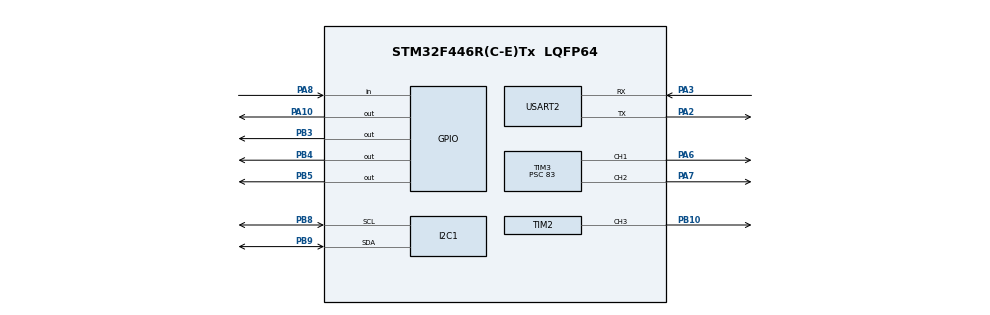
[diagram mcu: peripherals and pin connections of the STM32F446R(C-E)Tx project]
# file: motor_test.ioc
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Mcu.Family=STM32F4
Mcu.Name=STM32F446R(C-E)Tx
Mcu.Package=LQFP64
NVIC.PriorityGroup=NVIC_PRIORITYGROUP_4
PA10.Signal=GPIO_Output
PA13.Mode=Serial_Wire
PA13.Signal=SYS_JTMS-SWDIO
PA14.Mode=Serial_Wire
PA14.Signal=SYS_JTCK-SWCLK
PA2.Mode=Asynchronous
PA2.Signal=USART2_TX
PA3.Mode=Asynchronous
PA3.Signal=USART2_RX
PA6.Signal=S_TIM3_CH1
PA7.Signal=S_TIM3_CH2
PA8.GPIO_PuPd=GPIO_PULLUP
PA8.Signal=GPIO_Input
PB10.Signal=S_TIM2_CH3
PB3.Signal=GPIO_Output
PB4.Signal=GPIO_Output
PB5.Signal=GPIO_Output
PB8.GPIO_Pu=GPIO_PULLUP
PB8.Mode=I2C
PB8.Signal=I2C1_SCL
PB9.GPIO_Pu=GPIO_PULLUP
PB9.Mode=I2C
PB9.Signal=I2C1_SDA
ProjectManager.HeapSize=0x200
ProjectManager.StackSize=0x400
ProjectManager.TargetToolchain=STM32CubeIDE
RCC.CortexFreq_Value=16000000
RCC.USBFreq_Value=96000000
RCC.VCOOutputFreq_Value=192000000
SH.S_TIM2_CH3.0=TIM2_CH3,PWM Generation3 CH3
SH.S_TIM3_CH1.0=TIM3_CH1,PWM Generation1 CH1
SH.S_TIM3_CH2.0=TIM3_CH2,PWM Generation2 CH2
TIM2.Channel-PWM\ Generation3\ CH3=TIM_CHANNEL_3
TIM2.Period=999
TIM2.Prescaler=83
TIM3.Channel-PWM\ Generation1\ CH1=TIM_CHANNEL_1
TIM3.Channel-PWM\ Generation2\ CH2=TIM_CHANNEL_2
TIM3.Period=999
TIM3.Prescaler=83
USART2.VirtualMode=VM_ASYNC
VP_TIM3_VS_ClockSourceINT.Mode=Internal
board=custom

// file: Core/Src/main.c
/* USER CODE BEGIN Header */
/**
  * ******************************************************************************
  * @file           : main.c
  * @brief          : Standalone Dual-Timer Core (TIM3-Left / TIM2-Right Override)
  * ******************************************************************************
  */
/* USER CODE END Header */
#include "main.h"

/* USER CODE BEGIN Includes */
#include <stdio.h>
#include <string.h>
#include <stdarg.h>
/* USER CODE END Includes */

/* USER CODE BEGIN PD */
#define SENSOR_ADDR (0x29 << 1)
#define CMD_BIT     0x80
/* USER CODE END PD */

I2C_HandleTypeDef hi2c1;

TIM_HandleTypeDef htim2;
TIM_HandleTypeDef htim3;

UART_HandleTypeDef huart2;

/* USER CODE BEGIN PV */
volatile uint16_t Red_Color = 0;
volatile uint16_t Green_Color = 0;
volatile uint16_t Blue_Color = 0;
volatile uint16_t Clear_Color = 0;

volatile HAL_StatusTypeDef scan_result = HAL_ERROR;
volatile uint8_t found_address = 0;
/* USER CODE END PV */

void SystemClock_Config(void);
static void MX_GPIO_Init(void);
static void MX_TIM2_Init(void);
static void MX_TIM3_Init(void);
static void MX_I2C1_Init(void);
static void MX_USART2_UART_Init(void);
/* USER CODE BEGIN PFP */
void Read_Color_Values(void);
void Color_Sensor_Init(void);
void Set_Motor_Speed(uint32_t left_speed, uint32_t right_speed);
void Debug_Print(const char* format, ...);
void Robot_Forward(void);
void Robot_Stop(void);
void Robot_Turn_Left(void);
void Robot_Turn_Right(void);
void Robot_UTurn(void);
/* USER CODE END PFP */

int main(void)
{
  HAL_Init();

  /* =========================================================================
     🧹 EMERGENCY HARDWARE PIN BIT-FLUSH (UNBRICK ROUTINE)
     ========================================================================= */
  __HAL_RCC_GPIOB_CLK_ENABLE();
  GPIO_InitTypeDef GPIO_ResetStruct = {0};
  GPIO_ResetStruct.Pin = GPIO_PIN_8 | GPIO_PIN_9;
  GPIO_ResetStruct.Mode = GPIO_MODE_OUTPUT_PP;
  GPIO_ResetStruct.Pull = GPIO_NOPULL;
  GPIO_ResetStruct.Speed = GPIO_SPEED_FREQ_LOW;
  HAL_GPIO_Init(GPIOB, &GPIO_ResetStruct);

  HAL_GPIO_WritePin(GPIOB, GPIO_PIN_8 | GPIO_PIN_9, GPIO_PIN_SET);
  HAL_Delay(10);
  for(int i = 0; i < 9; i++) {
      HAL_GPIO_WritePin(GPIOB, GPIO_PIN_8, GPIO_PIN_RESET);
      HAL_Delay(5);
      HAL_GPIO_WritePin(GPIOB, GPIO_PIN_8, GPIO_PIN_SET);
      HAL_Delay(5);
  }
  HAL_GPIO_WritePin(GPIOB, GPIO_PIN_8 | GPIO_PIN_9, GPIO_PIN_SET);
  HAL_Delay(10);
  /* ========================================================================= */

  SystemClock_Config();

  MX_GPIO_Init();
  MX_TIM2_Init();
  MX_TIM3_Init();
  MX_I2C1_Init();
  MX_USART2_UART_Init();

  /* USER CODE BEGIN 2 */
  /* 🏎️ Fire up the Dual-Timer Engine channels */
  HAL_TIM_PWM_Start(&htim3, TIM_CHANNEL_2); // Left Speed via D9
  HAL_TIM_PWM_Start(&htim2, TIM_CHANNEL_3); // Right Speed via D11 Override

  HAL_Delay(200);

  Debug_Print("\r\n🚀 DUAL-TIMER FIRMWARE LOADED: Right channel active on D11\r\n");

  scan_result = HAL_I2C_IsDeviceReady(&hi2c1, SENSOR_ADDR, 3, 100);
  if (scan_result == HAL_OK) {
      found_address = 0x29;
      Debug_Print("✅ Color Sensor Detected at address: 0x29\r\n");
  } else {
      Debug_Print("⚠️ WARNING: Color Sensor missed on I2C1 bus!\r\n");
  }

  Color_Sensor_Init();
  Robot_Forward();
  /* USER CODE END 2 */

  /* Infinite loop */
    /* USER CODE BEGIN WHILE */
    while (1)
    {
      uint8_t ir_read = HAL_GPIO_ReadPin(GPIOA, GPIO_PIN_8);

      if (ir_read == 0)
      {
          // 🛡️ HARDWARE DEBOUNCE
          HAL_Delay(40);
          if (HAL_GPIO_ReadPin(GPIOA, GPIO_PIN_8) != 0) {
              continue;
          }

          /* 🛑 STEP 1 & 2: IMMEDIATE STOP & 2-SECOND SETTLING WINDOW */
          Robot_Stop();
          Debug_Print("ℹ️ Obstacle flagged. Vehicle locked. Settling for 2 seconds...\r\n");
          HAL_Delay(2000); // 2-second hold to eliminate mechanical shake and stabilize I2C lines

          // 🗳️ Vote Trackers
          int red_votes = 0;
          int green_votes = 0;
          int blue_votes = 0;
          int white_votes = 0;

          Debug_Print("🔄 Commencing 5-sample data acquisition...\r\n");

          /* 🔄 STEP 4: CAPTURE SAMPLES UNDER LOW-LUX CONDITIONS */
          for (int sample = 1; sample <= 5; sample++)
          {
              Read_Color_Values();

              uint32_t r_scaled = 0;
              uint32_t g_scaled = 0;
              uint32_t b_scaled = 0;

              if (Clear_Color > 0)
              {
                  r_scaled = ((uint32_t)Red_Color * 255) / Clear_Color;
                  g_scaled = ((uint32_t)Green_Color * 255) / Clear_Color;
                  b_scaled = ((uint32_t)Blue_Color * 255) / Clear_Color;

                  // Clamp values to max 8-bit scale
                  if (r_scaled > 255) r_scaled = 255;
                  if (g_scaled > 255) g_scaled = 255;
                  if (b_scaled > 255) b_scaled = 255;
              }

              Debug_Print("  [Sample %d] -> Raw Clear: %d | R:%d G:%d B:%d\r\n", sample, Clear_Color, (int)r_scaled, (int)g_scaled, (int)b_scaled);

              /* 🎨 LOW-LUX COMPENSATED INTERPRETER ENGINE */
              if (Clear_Color > 200 && r_scaled > 210 && g_scaled > 180)
              {
                  /* White target confirmation based on high raw balance metrics */
                  white_votes++;
              }
              else if (Clear_Color > 15) // Lowered safety floor to securely process low-lux readings
              {
                  /* Green target isolation: G is strictly dominant over R and B */
                  if (g_scaled > r_scaled && g_scaled > b_scaled)
                  {
                      green_votes++;
                  }
                  /* Red target isolation: R is strictly dominant over G and B */
                  else if (r_scaled > g_scaled && r_scaled > b_scaled)
                  {
                      red_votes++;
                  }
                  /* Blue target isolation */
                  else if (b_scaled > g_scaled && b_scaled > 140)
                  {
                      blue_votes++;
                  }
                  else
                  {
                      // Clean mathematical fallback rule if signals flatten out evenly
                      if (b_scaled > r_scaled && b_scaled > g_scaled) blue_votes++;
                  }
              }

              HAL_Delay(110);
          }

          /* ⏱️ STEP 5: 3-SECOND POST-PROCESSING DATA WINDOW */
          Debug_Print("🗳️ REPORT CARD -> RED:%d | GREEN:%d | BLUE:%d | WHITE:%d\r\n", red_votes, green_votes, blue_votes, white_votes);
          Debug_Print("ℹ️ Holding for 3 seconds to process decision...\r\n");
          HAL_Delay(3000); // 3-second diagnostic delay to safely verify results on the terminal

          /* 🚀 STEP 6: EXECUTE ROUTE ACTION */
          uint8_t executed_turn = 0;

          if (white_votes >= 3)
          {
              Debug_Print("↳ Route Action: WHITE -> U-Turn\r\n");
              Robot_UTurn();
              executed_turn = 1;
          }
          else if (red_votes >= 3)
          {
              Debug_Print("↳ Route Action: RED -> 5-Second Stop\r\n");
              Robot_Stop();
              HAL_Delay(5000);
              executed_turn = 1;
          }
          else if (green_votes >= 3)
          {
              Debug_Print("↳ Route Action: GREEN -> Turn Right\r\n");
              Robot_Turn_Right();
              executed_turn = 1;
          }
          else if (blue_votes >= 3)
          {
              Debug_Print("↳ Route Action: BLUE -> Turn Left\r\n");
              Robot_Turn_Left();
              executed_turn = 1;
          }
          else
          {
              Debug_Print("↳ Route Action: SPLIT VOTE -> Holding Brake\r\n");
              Robot_Stop();
              HAL_Delay(500);
          }

          // Kick back into low-speed cruise mode
          Robot_Forward();

          if (executed_turn == 1) {
              HAL_Delay(1000);
          }
      }
      else
      {
          Robot_Forward();
      }

      HAL_Delay(20);
    }
    /* USER CODE END WHILE */

}

void SystemClock_Config(void)
{
  RCC_OscInitTypeDef RCC_OscInitStruct = {0};
  RCC_ClkInitTypeDef RCC_ClkInitStruct = {0};

  __HAL_RCC_PWR_CLK_ENABLE();
  __HAL_PWR_VOLTAGESCALING_CONFIG(PWR_REGULATOR_VOLTAGE_SCALE3);

  RCC_OscInitStruct.OscillatorType = RCC_OSCILLATORTYPE_HSI;
  RCC_OscInitStruct.HSIState = RCC_HSI_ON;
  RCC_OscInitStruct.HSICalibrationValue = RCC_HSICALIBRATION_DEFAULT;
  RCC_OscInitStruct.PLL.PLLState = RCC_PLL_NONE;
  HAL_RCC_OscConfig(&RCC_OscInitStruct);

  RCC_ClkInitStruct.ClockType = RCC_CLOCKTYPE_HCLK|RCC_CLOCKTYPE_SYSCLK|RCC_CLOCKTYPE_PCLK1|RCC_CLOCKTYPE_PCLK2;
  RCC_ClkInitStruct.SYSCLKSource = RCC_SYSCLKSOURCE_HSI;
  RCC_ClkInitStruct.AHBCLKDivider = RCC_SYSCLK_DIV1;
  RCC_ClkInitStruct.APB1CLKDivider = RCC_HCLK_DIV1;
  RCC_ClkInitStruct.APB2CLKDivider = RCC_HCLK_DIV1;
  HAL_RCC_ClockConfig(&RCC_ClkInitStruct, FLASH_LATENCY_0);
}

static void MX_I2C1_Init(void)
{
  hi2c1.Instance = I2C1;
  hi2c1.Init.ClockSpeed = 100000;
  hi2c1.Init.DutyCycle = I2C_DUTYCYCLE_2;
  hi2c1.Init.OwnAddress1 = 0;
  hi2c1.Init.AddressingMode = I2C_ADDRESSINGMODE_7BIT;
  hi2c1.Init.DualAddressMode = I2C_DUALADDRESS_DISABLE;
  hi2c1.Init.OwnAddress2 = 0;
  hi2c1.Init.GeneralCallMode = I2C_GENERALCALL_DISABLE;
  hi2c1.Init.NoStretchMode = I2C_NOSTRETCH_DISABLE;
  HAL_I2C_Init(&hi2c1);
}

static void MX_TIM2_Init(void)
{
  TIM_MasterConfigTypeDef sMasterConfig = {0};
  TIM_OC_InitTypeDef sConfigOC = {0};

  htim2.Instance = TIM2;
  htim2.Init.Prescaler = 83;
  htim2.Init.CounterMode = TIM_COUNTERMODE_UP;
  htim2.Init.Period = 999;
  htim2.Init.ClockDivision = TIM_CLOCKDIVISION_DIV1;
  htim2.Init.AutoReloadPreload = TIM_AUTORELOAD_PRELOAD_DISABLE;
  HAL_TIM_PWM_Init(&htim2);

  sMasterConfig.MasterOutputTrigger = TIM_TRGO_RESET;
  sMasterConfig.MasterSlaveMode = TIM_MASTERSLAVEMODE_DISABLE;
  HAL_TIMEx_MasterConfigSynchronization(&htim2, &sMasterConfig);

  sConfigOC.OCMode = TIM_OCMODE_PWM1;
  sConfigOC.Pulse = 0;
  sConfigOC.OCPolarity = TIM_OCPOLARITY_HIGH;
  sConfigOC.OCFastMode = TIM_OCFAST_DISABLE;
  HAL_TIM_PWM_ConfigChannel(&htim2, &sConfigOC, TIM_CHANNEL_3);

  HAL_TIM_MspPostInit(&htim2);
}

static void MX_TIM3_Init(void)
{
  TIM_ClockConfigTypeDef sClockSourceConfig = {0};
  TIM_MasterConfigTypeDef sMasterConfig = {0};
  TIM_OC_InitTypeDef sConfigOC = {0};

  htim3.Instance = TIM3;
  htim3.Init.Prescaler = 83;
  htim3.Init.CounterMode = TIM_COUNTERMODE_UP;
  htim3.Init.Period = 999;
  htim3.Init.ClockDivision = TIM_CLOCKDIVISION_DIV1;
  htim3.Init.AutoReloadPreload = TIM_AUTORELOAD_PRELOAD_DISABLE;
  HAL_TIM_Base_Init(&htim3);

  sClockSourceConfig.ClockSource = TIM_CLOCKSOURCE_INTERNAL;
  HAL_TIM_ConfigClockSource(&htim3, &sClockSourceConfig);
  HAL_TIM_PWM_Init(&htim3);

  sMasterConfig.MasterOutputTrigger = TIM_TRGO_RESET;
  sMasterConfig.MasterSlaveMode = TIM_MASTERSLAVEMODE_DISABLE;
  HAL_TIMEx_MasterConfigSynchronization(&htim3, &sMasterConfig);

  sConfigOC.OCMode = TIM_OCMODE_PWM1;
  sConfigOC.Pulse = 0;
  sConfigOC.OCPolarity = TIM_OCPOLARITY_HIGH;
  sConfigOC.OCFastMode = TIM_OCFAST_DISABLE;
  HAL_TIM_PWM_ConfigChannel(&htim3, &sConfigOC, TIM_CHANNEL_2);

  HAL_TIM_MspPostInit(&htim3);
}

static void MX_USART2_UART_Init(void)
{
  huart2.Instance = USART2;
  huart2.Init.BaudRate = 115200;
  huart2.Init.WordLength = UART_WORDLENGTH_8B;
  huart2.Init.StopBits = UART_STOPBITS_1;
  huart2.Init.Parity = UART_PARITY_NONE;
  huart2.Init.Mode = UART_MODE_TX_RX;
  huart2.Init.HwFlowCtl = UART_HWCONTROL_NONE;
  huart2.Init.OverSampling = UART_OVERSAMPLING_16;
  HAL_UART_Init(&huart2);
}

static void MX_GPIO_Init(void)
{
  GPIO_InitTypeDef GPIO_InitStruct = {0};

  __HAL_RCC_GPIOA_CLK_ENABLE();
  __HAL_RCC_GPIOB_CLK_ENABLE();
  __HAL_RCC_GPIOC_CLK_ENABLE();

  HAL_GPIO_WritePin(GPIOA, GPIO_PIN_10, GPIO_PIN_RESET);
  HAL_GPIO_WritePin(GPIOB, GPIO_PIN_3|GPIO_PIN_4|GPIO_PIN_5, GPIO_PIN_RESET);

  /* IR Line Input Sensor */
  GPIO_InitStruct.Pin = GPIO_PIN_8;
  GPIO_InitStruct.Mode = GPIO_MODE_INPUT;
  GPIO_InitStruct.Pull = GPIO_PULLUP;
  HAL_GPIO_Init(GPIOA, &GPIO_InitStruct);

  /* IN1 Motor Rail Switch (PA10) */
  GPIO_InitStruct.Pin = GPIO_PIN_10;
  GPIO_InitStruct.Mode = GPIO_MODE_OUTPUT_PP;
  GPIO_InitStruct.Pull = GPIO_NOPULL;
  GPIO_InitStruct.Speed = GPIO_SPEED_FREQ_LOW;
  HAL_GPIO_Init(GPIOA, &GPIO_InitStruct);

  /* IN2, IN3, IN4 Directional Bridges (PB3, PB4, PB5) */
  GPIO_InitStruct.Pin = GPIO_PIN_3|GPIO_PIN_4|GPIO_PIN_5;
  GPIO_InitStruct.Mode = GPIO_MODE_OUTPUT_PP;
  GPIO_InitStruct.Pull = GPIO_NOPULL;
  GPIO_InitStruct.Speed = GPIO_SPEED_FREQ_LOW;
  HAL_GPIO_Init(GPIOB, &GPIO_InitStruct);

  /* USER CODE BEGIN MX_GPIO_Init_2 */
  /* 🏎️ HARD OVERRIDE OVERLAY: Route D11 (PB10) natively to TIM2_CH3 */
  GPIO_InitStruct.Pin = GPIO_PIN_10;
  GPIO_InitStruct.Mode = GPIO_MODE_AF_PP;
  GPIO_InitStruct.Pull = GPIO_NOPULL;
  GPIO_InitStruct.Speed = GPIO_SPEED_FREQ_VERY_HIGH;
  GPIO_InitStruct.Alternate = GPIO_AF1_TIM2;
  HAL_GPIO_Init(GPIOB, &GPIO_InitStruct);

  /* Route D9 (PC7) natively to TIM3_CH2 */
  GPIO_InitStruct.Pin = GPIO_PIN_7;
  GPIO_InitStruct.Mode = GPIO_MODE_AF_PP;
  GPIO_InitStruct.Pull = GPIO_NOPULL;
  GPIO_InitStruct.Speed = GPIO_SPEED_FREQ_VERY_HIGH;
  GPIO_InitStruct.Alternate = GPIO_AF2_TIM3;
  HAL_GPIO_Init(GPIOC, &GPIO_InitStruct);
  /* USER CODE END MX_GPIO_Init_2 */
}

/* USER CODE BEGIN 4 */
void Debug_Print(const char* format, ...) {
    char wifi_buffer[128];
    va_list args;
    va_start(args, format);
    vsnprintf(wifi_buffer, sizeof(wifi_buffer), format, args);
    va_end(args);
    HAL_UART_Transmit(&huart2, (uint8_t*)wifi_buffer, strlen(wifi_buffer), 50);
}

/* =========================================================================
    🏎️ SPLIT-TIMER MOTOR CONTROLLER INTERFACE
   ========================================================================= */
void Set_Motor_Speed(uint32_t left_speed, uint32_t right_speed) {
    __HAL_TIM_SET_COMPARE(&htim3, TIM_CHANNEL_2, left_speed);   // Left Channel -> D9
    __HAL_TIM_SET_COMPARE(&htim2, TIM_CHANNEL_3, right_speed);  // Right Channel -> D11
}

void Robot_Forward(void) {
    HAL_GPIO_WritePin(GPIOA, GPIO_PIN_10, GPIO_PIN_SET);   // IN1
    HAL_GPIO_WritePin(GPIOB, GPIO_PIN_3,  GPIO_PIN_RESET); // IN2
    HAL_GPIO_WritePin(GPIOB, GPIO_PIN_5,  GPIO_PIN_SET);   // IN3
    HAL_GPIO_WritePin(GPIOB, GPIO_PIN_4,  GPIO_PIN_RESET); // IN4

    Set_Motor_Speed(950, 950);
    HAL_Delay(25);

    Set_Motor_Speed(450, 450);
}

void Robot_Stop(void) {
    /* ⚡ ACTIVE REVERSE BRAKE: Force H-Bridge into reverse layout */
    HAL_GPIO_WritePin(GPIOA, GPIO_PIN_10, GPIO_PIN_RESET); // IN1
    HAL_GPIO_WritePin(GPIOB, GPIO_PIN_3,  GPIO_PIN_SET);   // IN2 (Reverse Left)
    HAL_GPIO_WritePin(GPIOB, GPIO_PIN_4,  GPIO_PIN_SET);   // IN4 (Reverse Right)
    HAL_GPIO_WritePin(GPIOB, GPIO_PIN_5,  GPIO_PIN_RESET); // IN3

    /* ⚖️ DRIFT CORRECTION: Pulse Left wheel (TIM3) slightly higher to counter the left drift */
    __HAL_TIM_SET_COMPARE(&htim3, TIM_CHANNEL_2, 850);  // Left Speed (Slightly stronger reverse snap)
    __HAL_TIM_SET_COMPARE(&htim2, TIM_CHANNEL_3, 750);  // Right Speed
    HAL_Delay(40); // Increased slightly from 35ms to ensure a complete dead-stop

    /* Cut all power completely */
    __HAL_TIM_SET_COMPARE(&htim3, TIM_CHANNEL_2, 0);
    __HAL_TIM_SET_COMPARE(&htim2, TIM_CHANNEL_3, 0);
    HAL_GPIO_WritePin(GPIOA, GPIO_PIN_10, GPIO_PIN_RESET);
    HAL_GPIO_WritePin(GPIOB, GPIO_PIN_3,  GPIO_PIN_RESET);
    HAL_GPIO_WritePin(GPIOB, GPIO_PIN_5,  GPIO_PIN_RESET);
    HAL_GPIO_WritePin(GPIOB, GPIO_PIN_4,  GPIO_PIN_RESET);
}
void Robot_Turn_Left(void) {
    HAL_GPIO_WritePin(GPIOA, GPIO_PIN_10, GPIO_PIN_RESET);
    HAL_GPIO_WritePin(GPIOB, GPIO_PIN_3,  GPIO_PIN_SET);
    HAL_GPIO_WritePin(GPIOB, GPIO_PIN_5,  GPIO_PIN_SET);
    HAL_GPIO_WritePin(GPIOB, GPIO_PIN_4,  GPIO_PIN_RESET);

    Set_Motor_Speed(850, 850); // Quick kickstart
    HAL_Delay(20);

    Set_Motor_Speed(160, 160);
    HAL_Delay(290); /* 📉 DECREASED from 350ms to fix the OVER-turn */
    Robot_Stop();
}

void Robot_Turn_Right(void) {
    HAL_GPIO_WritePin(GPIOA, GPIO_PIN_10, GPIO_PIN_SET);
    HAL_GPIO_WritePin(GPIOB, GPIO_PIN_3,  GPIO_PIN_RESET);
    HAL_GPIO_WritePin(GPIOB, GPIO_PIN_5,  GPIO_PIN_RESET);
    HAL_GPIO_WritePin(GPIOB, GPIO_PIN_4,  GPIO_PIN_SET);

    Set_Motor_Speed(850, 850); // Quick kickstart
    HAL_Delay(20);

    Set_Motor_Speed(160, 160);
    HAL_Delay(410); /* 📈 INCREASED from 350ms to fix the UNDER-turn */
    Robot_Stop();
}
void Robot_UTurn(void) {
    HAL_GPIO_WritePin(GPIOA, GPIO_PIN_10, GPIO_PIN_SET);
    HAL_GPIO_WritePin(GPIOB, GPIO_PIN_3,  GPIO_PIN_RESET);
    HAL_GPIO_WritePin(GPIOB, GPIO_PIN_5,  GPIO_PIN_RESET);
    HAL_GPIO_WritePin(GPIOB, GPIO_PIN_4,  GPIO_PIN_SET);

    Set_Motor_Speed(980, 980);
    HAL_Delay(30);

    Set_Motor_Speed(460, 460);
    HAL_Delay(750);
    Robot_Stop();
}

void Color_Sensor_Init(void) {
    uint8_t tx_data[2];
    tx_data[0] = CMD_BIT | 0x01; tx_data[1] = 0xD5;
    HAL_I2C_Master_Transmit(&hi2c1, SENSOR_ADDR, tx_data, 2, 100);
    tx_data[0] = CMD_BIT | 0x0F; tx_data[1] = 0x00;
    HAL_I2C_Master_Transmit(&hi2c1, SENSOR_ADDR, tx_data, 2, 100);
    tx_data[0] = CMD_BIT | 0x00; tx_data[1] = 0x03;
    HAL_I2C_Master_Transmit(&hi2c1, SENSOR_ADDR, tx_data, 2, 100);
}

void Read_Color_Values(void) {
    uint8_t rx_buff[2];
    HAL_I2C_Mem_Read(&hi2c1, SENSOR_ADDR, CMD_BIT | 0x14, I2C_MEMADD_SIZE_8BIT, rx_buff, 2, 100);
    Clear_Color = (uint16_t)((rx_buff[1] << 8) | rx_buff[0]);
    HAL_I2C_Mem_Read(&hi2c1, SENSOR_ADDR, CMD_BIT | 0x16, I2C_MEMADD_SIZE_8BIT, rx_buff, 2, 100);
    Red_Color = (uint16_t)((rx_buff[1] << 8) | rx_buff[0]);
    HAL_I2C_Mem_Read(&hi2c1, SENSOR_ADDR, CMD_BIT | 0x18, I2C_MEMADD_SIZE_8BIT, rx_buff, 2, 100);
    Green_Color = (uint16_t)((rx_buff[1] << 8) | rx_buff[0]);
    HAL_I2C_Mem_Read(&hi2c1, SENSOR_ADDR, CMD_BIT | 0x1A, I2C_MEMADD_SIZE_8BIT, rx_buff, 2, 100);
    Blue_Color = (uint16_t)((rx_buff[1] << 8) | rx_buff[0]);
}
/* USER CODE END 4 */

void Error_Handler(void)
{
  __disable_irq();
  while (1) {}
}
